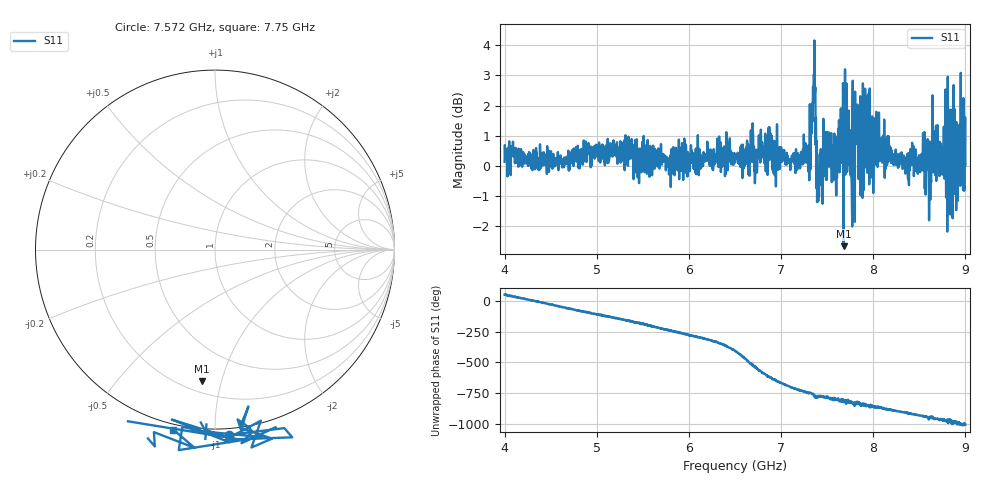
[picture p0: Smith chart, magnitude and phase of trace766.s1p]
! Created with skrf 1.8.0 (http://scikit-rf.org).
# Hz S RI R 50.0
!freq ReS11 ImS11
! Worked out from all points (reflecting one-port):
!   1601 points, 4 GHz to 9 GHz, reference 50 ohm
!   lowest |S11| = -2.7 dB at 7.678 GHz (marker M1), VSWR 6.57, Z = 13.6 - j43.3 ohm
!   phase of S11 starts at 50 deg and turns -1055 deg over the sweep
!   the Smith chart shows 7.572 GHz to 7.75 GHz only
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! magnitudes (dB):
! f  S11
! 4 GHz  0.1
! 4.625 GHz  -0.1
! 5.25 GHz  0.2
! 5.875 GHz  0.2
! 6.5 GHz  0.3
! 6.888 GHz  1.1
! 7.125 GHz  0.4
! 7.294 GHz  -0.2
! 7.347 GHz  2.6
! 7.362 GHz  4.2
! 7.409 GHz  -0.9
! 7.478 GHz  1.1
! 7.588 GHz  1.0
! 7.678 GHz  -2.7
! 7.75 GHz  0.3
! 7.775 GHz  1.8
! 7.828 GHz  2.0
! 7.881 GHz  1.4
! 7.928 GHz  1.2
! 7.981 GHz  0.1
! 8.375 GHz  -0.3
! 8.612 GHz  0.8
! 8.656 GHz  0.5
! 8.738 GHz  0.4
! 8.788 GHz  0.0
! 8.841 GHz  1.9
! 8.956 GHz  0.3
! 9 GHz  0.0
